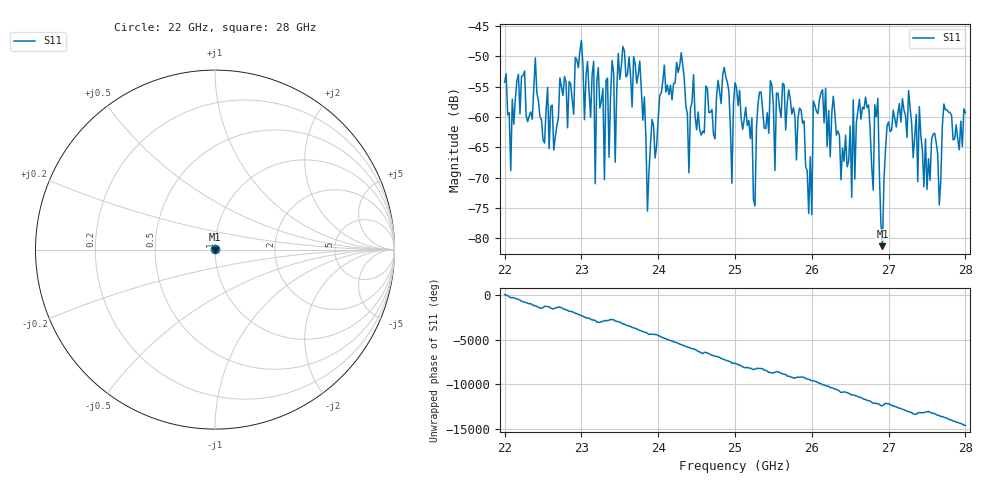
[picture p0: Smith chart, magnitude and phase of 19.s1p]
#  HZ  S  RI  R  50.00
! Rohde & Schwarz ZVA40 4Ports - Version 3.90 - 1145.1110k42 SN: 100403
! Date: 2023-10-04 07:01:59
! Measurement: S12
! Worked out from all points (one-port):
!   301 points, 22 GHz to 28 GHz, reference 50 ohm
!   lowest |S11| = -81.3 dB at 26.92 GHz (marker M1), VSWR 1.00, Z = 50 + j0.000414 ohm
!   |S11| at or under -10 dB: start of sweep to end of sweep
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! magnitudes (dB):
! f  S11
! 22 GHz  -54.3
! 22.08 GHz  -68.8
! 22.76 GHz  -56.4
! 23.16 GHz  -50.9
! 23.18 GHz  -71.0
! 23.22 GHz  -51.9
! 23.3 GHz  -70.4
! 23.32 GHz  -54.0
! 23.5 GHz  -53.8
! 23.76 GHz  -50.8
! 23.86 GHz  -75.5
! 24.26 GHz  -52.7
! 24.4 GHz  -69.2
! 24.86 GHz  -51.9
! 24.96 GHz  -70.9
! 25 GHz  -54.4
! 25.26 GHz  -74.7
! 25.32 GHz  -55.9
! 25.76 GHz  -58.5
! 26 GHz  -76.1
! 26.02 GHz  -57.4
! 26.5 GHz  -61.5
! 26.8 GHz  -72.1
! 26.86 GHz  -57.0
! 26.92 GHz  -81.3
! 27.26 GHz  -55.7
! 27.66 GHz  -74.5
! 28 GHz  -59.3
